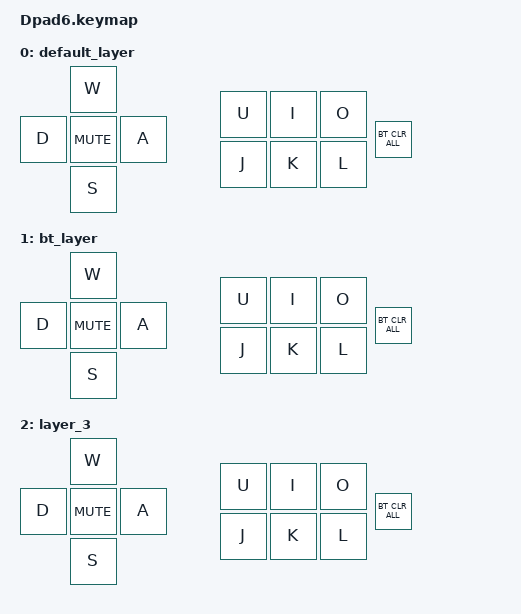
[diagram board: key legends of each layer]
#include <behaviors.dtsi>
#include <dt-bindings/zmk/keys.h>
#include <dt-bindings/zmk/bt.h>
#include <dt-bindings/zmk/pointing.h>


/ {

  keymap {
        compatible = "zmk,keymap";

        default_layer {
            bindings = < 
              &kp D     &kp W     &kp A     &kp S
              &kp U     &kp I   &kp O   
              &kp J     &kp K   &kp L
              &kp C_MUTE    &bt BT_CLR_ALL    
            >;
        };

        bt_layer {
            bindings = <
            &kp D     &kp W     &kp A     &kp S
                &kp U     &kp I   &kp O   
                &kp J     &kp K   &kp L
                &kp C_MUTE    &bt BT_CLR_ALL
            >;
        };

        layer_3 {
            bindings = <
              &kp D     &kp W     &kp A     &kp S
              &kp U     &kp I   &kp O   
              &kp J     &kp K   &kp L
              &kp C_MUTE    &bt BT_CLR_ALL
            >;
        };
    };
};
